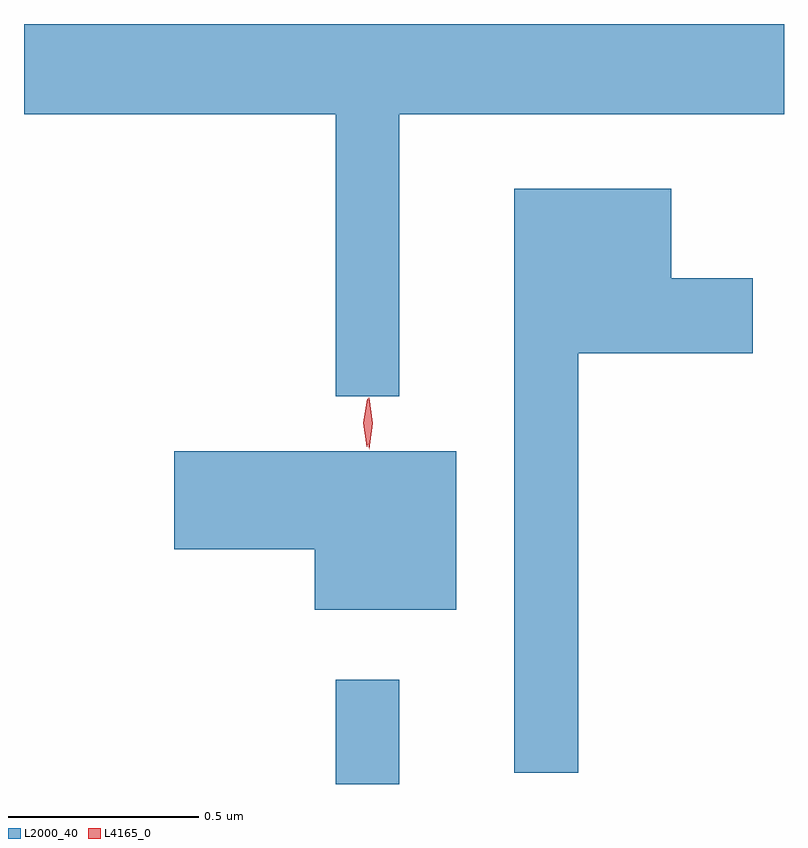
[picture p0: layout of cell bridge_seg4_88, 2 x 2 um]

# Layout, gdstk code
import gdstk
lib = gdstk.Library(unit=1e-6, precision=1e-09)
def R(c, l, rs):  # rectangles x0, y0, x1, y1
    for r in rs: c.add(gdstk.rectangle(r[:2], r[2:], *l))
def P(c, l, *ps):  # polygons
    for p in ps: c.add(gdstk.Polygon(p, *l))
L2000_40 = (2000, 40)
L4165_0 = (4165, 0)

bridge_seg4_88 = lib.new_cell('bridge_seg4_88')
R(bridge_seg4_88, L2000_40, [(1124.811,1375.113,1124.979,1375.388)])
P(bridge_seg4_88, L2000_40, [(1124.979,1376.876),(1125.991,1376.876),(1125.991,1377.113),(1123.991,1377.113),(1123.991,1376.876),(1124.811,1376.876),(1124.811,1376.133),(1124.979,1376.133)],
  [(1125.449,1376.246),(1125.909,1376.246),(1125.909,1376.444),(1125.694,1376.444),(1125.694,1376.679),(1125.281,1376.679),(1125.281,1375.143),(1125.449,1375.143)],
  [(1125.129,1375.989),(1124.386,1375.989),(1124.386,1375.731),(1124.756,1375.731),(1124.756,1375.571),(1125.129,1375.571)])
P(bridge_seg4_88, L4165_0, [(1124.893,1376),(1124.893,1376),(1124.884,1376.064),(1124.894,1376.126),(1124.895,1376.127),(1124.896,1376.126),(1124.904,1376.063),(1124.894,1376)],
  [(1124.899,1375.994),(1124.899,1375.994),(1124.889,1376.062),(1124.898,1376.13),(1124.898,1376.13),(1124.899,1376.13),(1124.909,1376.062),(1124.9,1375.994)])

lib.write_gds('bridge_seg4_88.gds')
